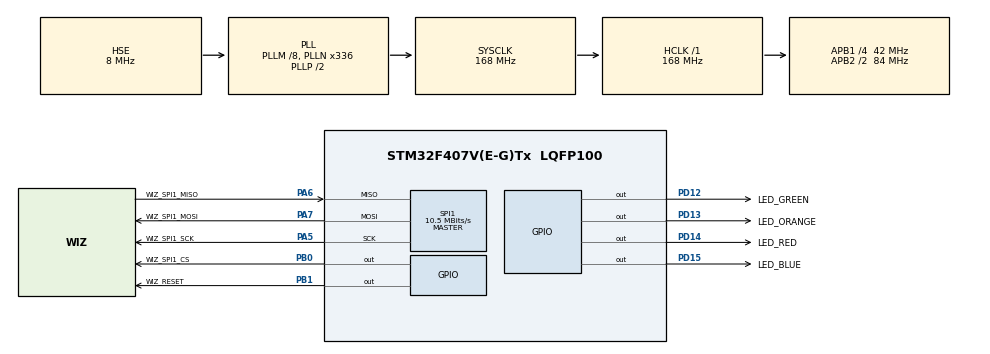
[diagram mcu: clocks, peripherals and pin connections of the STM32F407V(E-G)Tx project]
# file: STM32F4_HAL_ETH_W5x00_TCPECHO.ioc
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FREERTOS.Tasks01=defaultTask,0,256,StartDefaultTask,Default,NULL,Dynamic,NULL,NULL
FREERTOS.configCHECK_FOR_STACK_OVERFLOW=2
FREERTOS.configENABLE_FPU=1
FREERTOS.configMINIMAL_STACK_SIZE=256
FREERTOS.configTOTAL_HEAP_SIZE=32768
Mcu.Family=STM32F4
Mcu.Name=STM32F407V(E-G)Tx
Mcu.Package=LQFP100
NVIC.PriorityGroup=NVIC_PRIORITYGROUP_4
NVIC.TIM6_DAC_IRQn=true\:0\:0\:false\:false\:true\:false\:false\:true
NVIC.TimeBase=TIM6_DAC_IRQn
NVIC.TimeBaseIP=TIM6
PA13.Mode=Trace_Asynchronous_SW
PA13.Signal=SYS_JTMS-SWDIO
PA14.Mode=Trace_Asynchronous_SW
PA14.Signal=SYS_JTCK-SWCLK
PA5.GPIO_Label=WIZ_SPI1_SCK
PA5.Mode=Full_Duplex_Master
PA5.Signal=SPI1_SCK
PA6.GPIO_Label=WIZ_SPI1_MISO
PA6.Mode=Full_Duplex_Master
PA6.Signal=SPI1_MISO
PA7.GPIO_Label=WIZ_SPI1_MOSI
PA7.Mode=Full_Duplex_Master
PA7.Signal=SPI1_MOSI
PB0.GPIO_Label=WIZ_SPI1_CS
PB0.GPIO_PuPd=GPIO_PULLUP
PB0.Signal=GPIO_Output
PB1.GPIO_Label=WIZ_RESET
PB1.GPIO_PuPd=GPIO_PULLUP
PB1.Signal=GPIO_Output
PB3.Mode=Trace_Asynchronous_SW
PB3.Signal=SYS_JTDO-SWO
PD12.GPIO_Label=LED_GREEN
PD12.Signal=GPIO_Output
PD13.GPIO_Label=LED_ORANGE
PD13.Signal=GPIO_Output
PD14.GPIO_Label=LED_RED
PD14.Signal=GPIO_Output
PD15.GPIO_Label=LED_BLUE
PD15.Signal=GPIO_Output
PH0-OSC_IN.Mode=HSE-External-Oscillator
PH0-OSC_IN.Signal=RCC_OSC_IN
PH1-OSC_OUT.Mode=HSE-External-Oscillator
PH1-OSC_OUT.Signal=RCC_OSC_OUT
ProjectManager.HeapSize=0x200
ProjectManager.StackSize=0x400
ProjectManager.TargetToolchain=STM32CubeIDE
RCC.48MHZClocksFreq_Value=48000000
RCC.AHBFreq_Value=168000000
RCC.APB1CLKDivider=RCC_HCLK_DIV4
RCC.APB1Freq_Value=42000000
RCC.APB1TimFreq_Value=84000000
RCC.APB2CLKDivider=RCC_HCLK_DIV2
RCC.APB2Freq_Value=84000000
RCC.APB2TimFreq_Value=168000000
RCC.CortexFreq_Value=168000000
RCC.HCLKFreq_Value=168000000
RCC.HSE_VALUE=8000000
RCC.HSI_VALUE=16000000
RCC.LSE_VALUE=32768
RCC.PLLM=8
RCC.PLLN=336
RCC.PLLQ=7
RCC.PLLSourceVirtual=RCC_PLLSOURCE_HSE
RCC.SYSCLKFreq_VALUE=168000000
RCC.SYSCLKSource=RCC_SYSCLKSOURCE_PLLCLK
RCC.VCOOutputFreq_Value=336000000
SPI1.BaudRatePrescaler=SPI_BAUDRATEPRESCALER_8
SPI1.CalculateBaudRate=10.5 MBits/s
SPI1.Direction=SPI_DIRECTION_2LINES
SPI1.Mode=SPI_MODE_MASTER
SPI1.VirtualType=VM_MASTER
VP_FREERTOS_VS_CMSIS_V1.Mode=CMSIS_V1
VP_SYS_VS_tim6.Mode=TIM6
board=STM32F407G-DISC1

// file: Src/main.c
/* USER CODE BEGIN Header */
/**
  ******************************************************************************
  * @file           : main.c
  * @brief          : Main program body
  ******************************************************************************
  * @attention
  *
  * <h2><center>&copy; Copyright (c) 2020 STMicroelectronics.
  * All rights reserved.</center></h2>
  *
  * This software component is licensed by ST under Ultimate Liberty license
  * SLA0044, the "License"; You may not use this file except in compliance with
  * the License. You may obtain a copy of the License at:
  *                             www.st.com/SLA0044
  *
  ******************************************************************************
  */
/* USER CODE END Header */

#include "main.h"
#include "cmsis_os.h"
#include "spi.h"
#include "gpio.h"

/* USER CODE BEGIN Includes */
#include <stdio.h>
#include "dhcp.h"
/* USER CODE END Includes */

/* USER CODE BEGIN PV */
static uint16_t wizDHCPticks = 0;
/* USER CODE END PV */

void SystemClock_Config(void);
void MX_FREERTOS_Init(void);

/* USER CODE BEGIN 0 */
int _write(int file, char *ptr, int len)
{
  int DataIdx;

  for (DataIdx = 0; DataIdx < len; DataIdx++)
  {
    ITM_SendChar(*ptr++);
  }
  return len;
}
/* USER CODE END 0 */

int main(void)
{

  /* MCU Configuration--------------------------------------------------------*/

  /* Reset of all peripherals, Initializes the Flash interface and the Systick. */
  HAL_Init();

  /* Configure the system clock */
  SystemClock_Config();

  /* Initialize all configured peripherals */
  MX_GPIO_Init();
  MX_SPI1_Init();
  /* USER CODE BEGIN 2 */
  printf("Don't remove this printf to prevent hard fault.\r\n");

  /* USER CODE END 2 */

  /* Call init function for freertos objects (in freertos.c) */
  MX_FREERTOS_Init();
  /* Start scheduler */
  osKernelStart();

  /* We should never get here as control is now taken by the scheduler */
  /* Infinite loop */
  while (1)
  {

  }
}

void SystemClock_Config(void)
{
  RCC_OscInitTypeDef RCC_OscInitStruct = {0};
  RCC_ClkInitTypeDef RCC_ClkInitStruct = {0};

  /** Configure the main internal regulator output voltage
  */
  __HAL_RCC_PWR_CLK_ENABLE();
  __HAL_PWR_VOLTAGESCALING_CONFIG(PWR_REGULATOR_VOLTAGE_SCALE1);
  /** Initializes the CPU, AHB and APB busses clocks
  */
  RCC_OscInitStruct.OscillatorType = RCC_OSCILLATORTYPE_HSE;
  RCC_OscInitStruct.HSEState = RCC_HSE_ON;
  RCC_OscInitStruct.PLL.PLLState = RCC_PLL_ON;
  RCC_OscInitStruct.PLL.PLLSource = RCC_PLLSOURCE_HSE;
  RCC_OscInitStruct.PLL.PLLM = 8;
  RCC_OscInitStruct.PLL.PLLN = 336;
  RCC_OscInitStruct.PLL.PLLP = RCC_PLLP_DIV2;
  RCC_OscInitStruct.PLL.PLLQ = 7;
  if (HAL_RCC_OscConfig(&RCC_OscInitStruct) != HAL_OK)
  {
    Error_Handler();
  }
  /** Initializes the CPU, AHB and APB busses clocks
  */
  RCC_ClkInitStruct.ClockType = RCC_CLOCKTYPE_HCLK|RCC_CLOCKTYPE_SYSCLK
                              |RCC_CLOCKTYPE_PCLK1|RCC_CLOCKTYPE_PCLK2;
  RCC_ClkInitStruct.SYSCLKSource = RCC_SYSCLKSOURCE_PLLCLK;
  RCC_ClkInitStruct.AHBCLKDivider = RCC_SYSCLK_DIV1;
  RCC_ClkInitStruct.APB1CLKDivider = RCC_HCLK_DIV4;
  RCC_ClkInitStruct.APB2CLKDivider = RCC_HCLK_DIV2;

  if (HAL_RCC_ClockConfig(&RCC_ClkInitStruct, FLASH_LATENCY_5) != HAL_OK)
  {
    Error_Handler();
  }
}

 /**
  * @brief  Period elapsed callback in non blocking mode
  * @note   This function is called  when TIM6 interrupt took place, inside
  * HAL_TIM_IRQHandler(). It makes a direct call to HAL_IncTick() to increment
  * a global variable "uwTick" used as application time base.
  * @param  htim : TIM handle
  * @retval None
  */
void HAL_TIM_PeriodElapsedCallback(TIM_HandleTypeDef *htim)
{
  if (htim->Instance == TIM6) {
    HAL_IncTick();
  }
  /* USER CODE BEGIN Callback 1 */
  if(htim->Instance == TIM6) {
	  wizDHCPticks++;
	  if(wizDHCPticks >= 1000)
	  {
		  wizDHCPticks = 0;
		  DHCP_time_handler();
	  }
  }
  /* USER CODE END Callback 1 */
}

void Error_Handler(void)
{
}

/************************ (C) COPYRIGHT STMicroelectronics *****END OF FILE****/

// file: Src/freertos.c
/* USER CODE BEGIN Header */
/**
 ******************************************************************************
 * File Name          : freertos.c
 * Description        : Code for freertos applications
 ******************************************************************************
 * @attention
 *
 * <h2><center>&copy; Copyright (c) 2020 STMicroelectronics.
 * All rights reserved.</center></h2>
 *
 * This software component is licensed by ST under Ultimate Liberty license
 * SLA0044, the "License"; You may not use this file except in compliance with
 * the License. You may obtain a copy of the License at:
 *                             www.st.com/SLA0044
 *
 ******************************************************************************
 */
/* USER CODE END Header */

#include <echoserver.h>
#include "FreeRTOS.h"
#include "task.h"
#include "main.h"
#include "cmsis_os.h"

/* USER CODE BEGIN Variables */
osThreadId wizEchoServerTaskHandle;
/* USER CODE END Variables */
osThreadId defaultTaskHandle;

/* USER CODE BEGIN FunctionPrototypes */
void StartWizTcpClientTask(void const * argument);
/* USER CODE END FunctionPrototypes */

void StartDefaultTask(void const * argument);

void MX_FREERTOS_Init(void); /* (MISRA C 2004 rule 8.1) */

/* GetIdleTaskMemory prototype (linked to static allocation support) */
void vApplicationGetIdleTaskMemory( StaticTask_t **ppxIdleTaskTCBBuffer, StackType_t **ppxIdleTaskStackBuffer, uint32_t *pulIdleTaskStackSize );

/* Hook prototypes */
void vApplicationStackOverflowHook(xTaskHandle xTask, signed char *pcTaskName);

/* USER CODE BEGIN 4 */
__weak void vApplicationStackOverflowHook(xTaskHandle xTask, signed char *pcTaskName)
{
	/* Run time stack overflow checking is performed if
   configCHECK_FOR_STACK_OVERFLOW is defined to 1 or 2. This hook function is
   called if a stack overflow is detected. */
	HAL_GPIO_WritePin(LED_ORANGE_GPIO_Port, LED_ORANGE_Pin, GPIO_PIN_SET);	//turn on orange led when system detects stack overflow
}
/* USER CODE END 4 */

/* USER CODE BEGIN GET_IDLE_TASK_MEMORY */
static StaticTask_t xIdleTaskTCBBuffer;
static StackType_t xIdleStack[configMINIMAL_STACK_SIZE];

void vApplicationGetIdleTaskMemory( StaticTask_t **ppxIdleTaskTCBBuffer, StackType_t **ppxIdleTaskStackBuffer, uint32_t *pulIdleTaskStackSize )
{
	*ppxIdleTaskTCBBuffer = &xIdleTaskTCBBuffer;
	*ppxIdleTaskStackBuffer = &xIdleStack[0];
	*pulIdleTaskStackSize = configMINIMAL_STACK_SIZE;
	/* place for user code */
}
/* USER CODE END GET_IDLE_TASK_MEMORY */

void MX_FREERTOS_Init(void) {

  /* Create the thread(s) */
  /* definition and creation of defaultTask */
  osThreadDef(defaultTask, StartDefaultTask, osPriorityNormal, 0, 256);
  defaultTaskHandle = osThreadCreate(osThread(defaultTask), NULL);

}

void StartDefaultTask(void const * argument)
{
  /* USER CODE BEGIN StartDefaultTask */
	osThreadDef(wizEchoServerTask, StartWizEchoServerTask, osPriorityNormal, 0, 512);
	wizEchoServerTaskHandle = osThreadCreate(osThread(wizEchoServerTask), NULL);
	/* Infinite loop */
	for(;;)
	{
		HAL_GPIO_TogglePin(LED_GREEN_GPIO_Port, LED_GREEN_Pin);
		osDelay(500);
	}
  /* USER CODE END StartDefaultTask */
}

/************************ (C) COPYRIGHT STMicroelectronics *****END OF FILE****/
